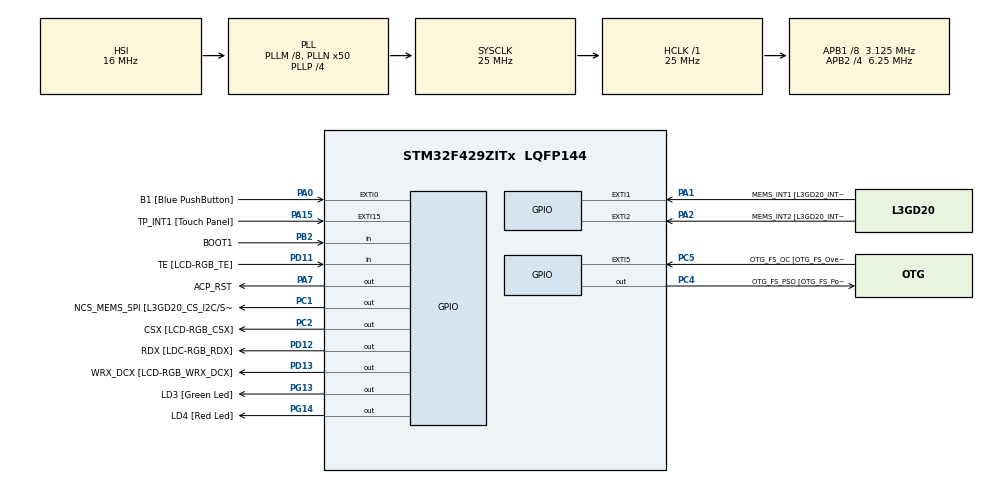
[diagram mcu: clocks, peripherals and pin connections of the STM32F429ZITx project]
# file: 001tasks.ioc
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Mcu.Family=STM32F4
Mcu.Name=STM32F429ZITx
Mcu.Package=LQFP144
NVIC.PriorityGroup=NVIC_PRIORITYGROUP_4
NVIC.TIM6_DAC_IRQn=true\:15\:0\:false\:false\:true\:false\:true\:true
NVIC.TimeBase=TIM6_DAC_IRQn
NVIC.TimeBaseIP=TIM6
PA0/WKUP.GPIO_Label=B1 [Blue PushButton]
PA0/WKUP.GPIO_ModeDefaultEXTI=GPIO_MODE_EVT_RISING
PA0/WKUP.GPIO_PuPd=GPIO_NOPULL
PA0/WKUP.Signal=GPXTI0
PA1.GPIO_Label=MEMS_INT1 [L3GD20_INT1]
PA1.GPIO_ModeDefaultEXTI=GPIO_MODE_EVT_RISING
PA1.GPIO_PuPd=GPIO_NOPULL
PA1.Signal=GPXTI1
PA10.GPIO_Label=STLINK_TX [STM32F103CBT6_PA2]
PA10.Signal=USART1_RX
PA11.GPIO_Label=R4
PA11.GPIO_Mode=GPIO_MODE_AF_PP
PA11.GPIO_PuPd=GPIO_NOPULL
PA11.GPIO_Speed=GPIO_SPEED_FREQ_LOW
PA11.Signal=LTDC_R4
PA12.GPIO_Label=R5
PA12.GPIO_Mode=GPIO_MODE_AF_PP
PA12.GPIO_PuPd=GPIO_NOPULL
PA12.GPIO_Speed=GPIO_SPEED_FREQ_LOW
PA12.Signal=LTDC_R5
PA13.GPIO_Label=SWDIO
PA13.Signal=SYS_JTMS-SWDIO
PA14.GPIO_Label=SWCLK
PA14.Signal=SYS_JTCK-SWCLK
PA15.GPIO_Label=TP_INT1 [Touch Panel]
PA15.GPIO_ModeDefaultEXTI=GPIO_MODE_EVT_RISING
PA15.GPIO_PuPd=GPIO_NOPULL
PA15.Signal=GPXTI15
PA2.GPIO_Label=MEMS_INT2 [L3GD20_INT2]
PA2.GPIO_ModeDefaultEXTI=GPIO_MODE_EVT_RISING
PA2.GPIO_PuPd=GPIO_NOPULL
PA2.Signal=GPXTI2
PA3.GPIO_Label=B5
PA3.GPIO_Mode=GPIO_MODE_AF_PP
PA3.GPIO_PuPd=GPIO_NOPULL
PA3.GPIO_Speed=GPIO_SPEED_FREQ_LOW
PA3.Signal=LTDC_B5
PA4.GPIO_Label=VSYNC
PA4.GPIO_Mode=GPIO_MODE_AF_PP
PA4.GPIO_PuPd=GPIO_NOPULL
PA4.GPIO_Speed=GPIO_SPEED_FREQ_LOW
PA4.Signal=LTDC_VSYNC
PA6.GPIO_Label=G2
PA6.GPIO_Mode=GPIO_MODE_AF_PP
PA6.GPIO_PuPd=GPIO_NOPULL
PA6.GPIO_Speed=GPIO_SPEED_FREQ_LOW
PA6.Signal=LTDC_G2
PA7.GPIO_Label=ACP_RST
PA7.GPIO_Mode=GPIO_MODE_OUTPUT_PP
PA7.GPIO_PuPd=GPIO_NOPULL
PA7.GPIO_Speed=GPIO_SPEED_FREQ_LOW
PA7.Signal=GPIO_Output
PA8.GPIO_Label=I2C3_SCL [ACP/RF_SCL]
PA8.GPIO_Mode=GPIO_MODE_AF_OD
PA8.GPIO_PuPd=GPIO_NOPULL
PA8.GPIO_Speed=GPIO_SPEED_FREQ_LOW
PA8.Signal=I2C3_SCL
PA9.GPIO_Label=STLINK_RX [STM32F103CBT6_PA3]
PA9.Signal=USART1_TX
PB0.GPIO_Label=R3
PB0.GPIO_Mode=GPIO_MODE_AF_PP
PB0.GPIO_PuPd=GPIO_NOPULL
PB0.GPIO_Speed=GPIO_SPEED_FREQ_LOW
PB0.Signal=LTDC_R3
PB1.GPIO_Label=R6
PB1.GPIO_Mode=GPIO_MODE_AF_PP
PB1.GPIO_PuPd=GPIO_NOPULL
PB1.GPIO_Speed=GPIO_SPEED_FREQ_LOW
PB1.Signal=LTDC_R6
PB10.GPIO_Label=G4
PB10.GPIO_Mode=GPIO_MODE_AF_PP
PB10.GPIO_PuPd=GPIO_NOPULL
PB10.GPIO_Speed=GPIO_SPEED_FREQ_LOW
PB10.Signal=LTDC_G4
PB11.GPIO_Label=G5
PB11.GPIO_Mode=GPIO_MODE_AF_PP
PB11.GPIO_PuPd=GPIO_NOPULL
PB11.GPIO_Speed=GPIO_SPEED_FREQ_LOW
PB11.Signal=LTDC_G5
PB12.GPIO_Label=OTG_HS_ID
PB12.GPIO_Mode=GPIO_MODE_AF_PP
PB12.GPIO_PuPd=GPIO_NOPULL
PB12.GPIO_Speed=GPIO_SPEED_FREQ_LOW
PB12.Signal=USB_OTG_HS_ID
PB13.GPIO_Label=VBUS_HS
PB13.GPIO_Mode=GPIO_MODE_INPUT
PB13.GPIO_PuPd=GPIO_NOPULL
PB13.Signal=USB_OTG_HS_VBUS
PB14.GPIO_Label=OTG_HS_DM
PB14.GPIO_Mode=GPIO_MODE_AF_PP
PB14.GPIO_PuPd=GPIO_NOPULL
PB14.GPIO_Speed=GPIO_SPEED_FREQ_LOW
PB14.Signal=USB_OTG_HS_DM
PB15.GPIO_Label=OTG_HS_DP
PB15.GPIO_Mode=GPIO_MODE_AF_PP
PB15.GPIO_PuPd=GPIO_NOPULL
PB15.GPIO_Speed=GPIO_SPEED_FREQ_LOW
PB15.Signal=USB_OTG_HS_DP
PB2/BOOT1.GPIO_Label=BOOT1
PB2/BOOT1.GPIO_Mode=GPIO_MODE_INPUT
PB2/BOOT1.GPIO_PuPd=GPIO_NOPULL
PB2/BOOT1.Signal=GPIO_Input
PB5.GPIO_Label=SDCKE1
PB5.GPIO_Mode=GPIO_MODE_AF_PP
PB5.GPIO_PuPd=GPIO_NOPULL
PB5.GPIO_Speed=GPIO_SPEED_FREQ_VERY_HIGH
PB5.Signal=FMC_SDCKE1
PB6.GPIO_Label=SDNE1 [SDRAM_CS]
PB6.GPIO_Mode=GPIO_MODE_AF_PP
PB6.GPIO_PuPd=GPIO_NOPULL
PB6.GPIO_Speed=GPIO_SPEED_FREQ_VERY_HIGH
PB6.Signal=FMC_SDNE1
PB8.GPIO_Label=B6
PB8.GPIO_Mode=GPIO_MODE_AF_PP
PB8.GPIO_PuPd=GPIO_NOPULL
PB8.GPIO_Speed=GPIO_SPEED_FREQ_LOW
PB8.Signal=LTDC_B6
PB9.GPIO_Label=B7
PB9.GPIO_Mode=GPIO_MODE_AF_PP
PB9.GPIO_PuPd=GPIO_NOPULL
PB9.GPIO_Speed=GPIO_SPEED_FREQ_LOW
PB9.Signal=LTDC_B7
PC0.GPIO_Label=SDNWE
PC0.GPIO_Mode=GPIO_MODE_AF_PP
PC0.GPIO_PuPd=GPIO_NOPULL
PC0.GPIO_Speed=GPIO_SPEED_FREQ_VERY_HIGH
PC0.Signal=FMC_SDNWE
PC1.GPIO_Label=NCS_MEMS_SPI [L3GD20_CS_I2C/SPI]
PC1.GPIO_Mode=GPIO_MODE_OUTPUT_PP
PC1.GPIO_PuPd=GPIO_NOPULL
PC1.GPIO_Speed=GPIO_SPEED_FREQ_LOW
PC1.Signal=GPIO_Output
PC10.GPIO_Label=R2
PC10.GPIO_Mode=GPIO_MODE_AF_PP
PC10.GPIO_PuPd=GPIO_NOPULL
PC10.GPIO_Speed=GPIO_SPEED_FREQ_LOW
PC10.Signal=LTDC_R2
PC14/OSC32_IN.GPIO_Label=PC14-OSC32_IN
PC14/OSC32_IN.Signal=RCC_OSC32_IN
PC15/OSC32_OUT.GPIO_Label=PC15-OSC32_OUT
PC15/OSC32_OUT.Signal=RCC_OSC32_OUT
PC2.GPIO_Label=CSX [LCD-RGB_CSX]
PC2.GPIO_Mode=GPIO_MODE_OUTPUT_PP
PC2.GPIO_PuPd=GPIO_NOPULL
PC2.GPIO_Speed=GPIO_SPEED_FREQ_LOW
PC2.Signal=GPIO_Output
PC4.GPIO_Label=OTG_FS_PSO [OTG_FS_PowerSwitchOn]
PC4.GPIO_Mode=GPIO_MODE_OUTPUT_PP
PC4.GPIO_PuPd=GPIO_NOPULL
PC4.GPIO_Speed=GPIO_SPEED_FREQ_LOW
PC4.Signal=GPIO_Output
PC5.GPIO_Label=OTG_FS_OC [OTG_FS_OverCurrent]
PC5.GPIO_ModeDefaultEXTI=GPIO_MODE_EVT_RISING
PC5.Signal=GPXTI5
PC6.GPIO_Label=HSYNC
PC6.GPIO_Mode=GPIO_MODE_AF_PP
PC6.GPIO_PuPd=GPIO_NOPULL
PC6.GPIO_Speed=GPIO_SPEED_FREQ_LOW
PC6.Signal=LTDC_HSYNC
PC7.GPIO_Label=G6
PC7.GPIO_Mode=GPIO_MODE_AF_PP
PC7.GPIO_PuPd=GPIO_NOPULL
PC7.GPIO_Speed=GPIO_SPEED_FREQ_LOW
PC7.Signal=LTDC_G6
PC9.GPIO_Label=I2C3_SDA [ACP/RF_SDA]
PC9.GPIO_Mode=GPIO_MODE_AF_OD
PC9.GPIO_PuPd=GPIO_NOPULL
PC9.GPIO_Speed=GPIO_SPEED_FREQ_LOW
PC9.Signal=I2C3_SDA
PD0.GPIO_Label=D2
PD0.GPIO_Mode=GPIO_MODE_AF_PP
PD0.GPIO_PuPd=GPIO_NOPULL
PD0.GPIO_Speed=GPIO_SPEED_FREQ_VERY_HIGH
PD0.Signal=FMC_D2_DA2
PD1.GPIO_Label=D3
PD1.GPIO_Mode=GPIO_MODE_AF_PP
PD1.GPIO_PuPd=GPIO_NOPULL
PD1.GPIO_Speed=GPIO_SPEED_FREQ_VERY_HIGH
PD1.Signal=FMC_D3_DA3
PD10.GPIO_Label=D15
PD10.GPIO_Mode=GPIO_MODE_AF_PP
PD10.GPIO_PuPd=GPIO_NOPULL
PD10.GPIO_Speed=GPIO_SPEED_FREQ_VERY_HIGH
PD10.Signal=FMC_D15_DA15
PD11.GPIO_Label=TE [LCD-RGB_TE]
PD11.GPIO_Mode=GPIO_MODE_INPUT
PD11.GPIO_PuPd=GPIO_NOPULL
PD11.Signal=GPIO_Input
PD12.GPIO_Label=RDX [LDC-RGB_RDX]
PD12.GPIO_Mode=GPIO_MODE_OUTPUT_PP
PD12.GPIO_PuPd=GPIO_NOPULL
PD12.GPIO_Speed=GPIO_SPEED_FREQ_LOW
PD12.Signal=GPIO_Output
PD13.GPIO_Label=WRX_DCX [LCD-RGB_WRX_DCX]
PD13.GPIO_Mode=GPIO_MODE_OUTPUT_PP
PD13.GPIO_PuPd=GPIO_NOPULL
PD13.GPIO_Speed=GPIO_SPEED_FREQ_LOW
PD13.Signal=GPIO_Output
PD14.GPIO_Label=D0
PD14.GPIO_Mode=GPIO_MODE_AF_PP
PD14.GPIO_PuPd=GPIO_NOPULL
PD14.GPIO_Speed=GPIO_SPEED_FREQ_VERY_HIGH
PD14.Signal=FMC_D0_DA0
PD15.GPIO_Label=D1
PD15.GPIO_Mode=GPIO_MODE_AF_PP
PD15.GPIO_PuPd=GPIO_NOPULL
PD15.GPIO_Speed=GPIO_SPEED_FREQ_VERY_HIGH
PD15.Signal=FMC_D1_DA1
PD3.GPIO_Label=G7
PD3.GPIO_Mode=GPIO_MODE_AF_PP
PD3.GPIO_PuPd=GPIO_NOPULL
PD3.GPIO_Speed=GPIO_SPEED_FREQ_LOW
PD3.Signal=LTDC_G7
PD6.GPIO_Label=B2
PD6.GPIO_Mode=GPIO_MODE_AF_PP
PD6.GPIO_PuPd=GPIO_NOPULL
PD6.GPIO_Speed=GPIO_SPEED_FREQ_LOW
PD6.Signal=LTDC_B2
PD8.GPIO_Label=D13
PD8.GPIO_Mode=GPIO_MODE_AF_PP
PD8.GPIO_PuPd=GPIO_NOPULL
PD8.GPIO_Speed=GPIO_SPEED_FREQ_VERY_HIGH
PD8.Signal=FMC_D13_DA13
PD9.GPIO_Label=D14
PD9.GPIO_Mode=GPIO_MODE_AF_PP
PD9.GPIO_PuPd=GPIO_NOPULL
PD9.GPIO_Speed=GPIO_SPEED_FREQ_VERY_HIGH
PD9.Signal=FMC_D14_DA14
PE0.GPIO_Label=NBL0 [SDRAM_LDQM]
PE0.GPIO_Mode=GPIO_MODE_AF_PP
PE0.GPIO_PuPd=GPIO_NOPULL
PE0.GPIO_Speed=GPIO_SPEED_FREQ_VERY_HIGH
PE0.Signal=FMC_NBL0
PE1.GPIO_Label=NBL1 [SDRAM_UDQM]
PE1.GPIO_Mode=GPIO_MODE_AF_PP
PE1.GPIO_PuPd=GPIO_NOPULL
PE1.GPIO_Speed=GPIO_SPEED_FREQ_VERY_HIGH
PE1.Signal=FMC_NBL1
PE10.GPIO_Label=D7
PE10.GPIO_Mode=GPIO_MODE_AF_PP
PE10.GPIO_PuPd=GPIO_NOPULL
PE10.GPIO_Speed=GPIO_SPEED_FREQ_VERY_HIGH
PE10.Signal=FMC_D7_DA7
PE11.GPIO_Label=D8
PE11.GPIO_Mode=GPIO_MODE_AF_PP
PE11.GPIO_PuPd=GPIO_NOPULL
PE11.GPIO_Speed=GPIO_SPEED_FREQ_VERY_HIGH
PE11.Signal=FMC_D8_DA8
PE12.GPIO_Label=D9
PE12.GPIO_Mode=GPIO_MODE_AF_PP
PE12.GPIO_PuPd=GPIO_NOPULL
PE12.GPIO_Speed=GPIO_SPEED_FREQ_VERY_HIGH
PE12.Signal=FMC_D9_DA9
PE13.GPIO_Label=D10
PE13.GPIO_Mode=GPIO_MODE_AF_PP
PE13.GPIO_PuPd=GPIO_NOPULL
PE13.GPIO_Speed=GPIO_SPEED_FREQ_VERY_HIGH
PE13.Signal=FMC_D10_DA10
PE14.GPIO_Label=D11
PE14.GPIO_Mode=GPIO_MODE_AF_PP
PE14.GPIO_PuPd=GPIO_NOPULL
PE14.GPIO_Speed=GPIO_SPEED_FREQ_VERY_HIGH
PE14.Signal=FMC_D11_DA11
PE15.GPIO_Label=D12
PE15.GPIO_Mode=GPIO_MODE_AF_PP
PE15.GPIO_PuPd=GPIO_NOPULL
PE15.GPIO_Speed=GPIO_SPEED_FREQ_VERY_HIGH
PE15.Signal=FMC_D12_DA12
PE7.GPIO_Label=D4
PE7.GPIO_Mode=GPIO_MODE_AF_PP
PE7.GPIO_PuPd=GPIO_NOPULL
PE7.GPIO_Speed=GPIO_SPEED_FREQ_VERY_HIGH
PE7.Signal=FMC_D4_DA4
PE8.GPIO_Label=D5
PE8.GPIO_Mode=GPIO_MODE_AF_PP
PE8.GPIO_PuPd=GPIO_NOPULL
PE8.GPIO_Speed=GPIO_SPEED_FREQ_VERY_HIGH
PE8.Signal=FMC_D5_DA5
PE9.GPIO_Label=D6
PE9.GPIO_Mode=GPIO_MODE_AF_PP
PE9.GPIO_PuPd=GPIO_NOPULL
PE9.GPIO_Speed=GPIO_SPEED_FREQ_VERY_HIGH
PE9.Signal=FMC_D6_DA6
PF0.GPIO_Label=A0
PF0.GPIO_Mode=GPIO_MODE_AF_PP
PF0.GPIO_PuPd=GPIO_NOPULL
PF0.GPIO_Speed=GPIO_SPEED_FREQ_VERY_HIGH
PF0.Signal=FMC_A0
PF1.GPIO_Label=A1
PF1.GPIO_Mode=GPIO_MODE_AF_PP
PF1.GPIO_PuPd=GPIO_NOPULL
PF1.GPIO_Speed=GPIO_SPEED_FREQ_VERY_HIGH
PF1.Signal=FMC_A1
PF10.GPIO_Label=ENABLE [LCD-RGB_ENABLE]
PF10.GPIO_Mode=GPIO_MODE_AF_PP
PF10.GPIO_PuPd=GPIO_NOPULL
PF10.GPIO_Speed=GPIO_SPEED_FREQ_LOW
PF10.Signal=LTDC_DE
PF11.GPIO_Label=SDNRAS
PF11.GPIO_Mode=GPIO_MODE_AF_PP
PF11.GPIO_PuPd=GPIO_NOPULL
PF11.GPIO_Speed=GPIO_SPEED_FREQ_VERY_HIGH
PF11.Signal=FMC_SDNRAS
PF12.GPIO_Label=A6
PF12.GPIO_Mode=GPIO_MODE_AF_PP
PF12.GPIO_PuPd=GPIO_NOPULL
PF12.GPIO_Speed=GPIO_SPEED_FREQ_VERY_HIGH
PF12.Signal=FMC_A6
PF13.GPIO_Label=A7
PF13.GPIO_Mode=GPIO_MODE_AF_PP
PF13.GPIO_PuPd=GPIO_NOPULL
PF13.GPIO_Speed=GPIO_SPEED_FREQ_VERY_HIGH
PF13.Signal=FMC_A7
PF14.GPIO_Label=A8
PF14.GPIO_Mode=GPIO_MODE_AF_PP
PF14.GPIO_PuPd=GPIO_NOPULL
PF14.GPIO_Speed=GPIO_SPEED_FREQ_VERY_HIGH
PF14.Signal=FMC_A8
PF15.GPIO_Label=A9
PF15.GPIO_Mode=GPIO_MODE_AF_PP
PF15.GPIO_PuPd=GPIO_NOPULL
PF15.GPIO_Speed=GPIO_SPEED_FREQ_VERY_HIGH
PF15.Signal=FMC_A9
PF2.GPIO_Label=A2
PF2.GPIO_Mode=GPIO_MODE_AF_PP
PF2.GPIO_PuPd=GPIO_NOPULL
PF2.GPIO_Speed=GPIO_SPEED_FREQ_VERY_HIGH
PF2.Signal=FMC_A2
PF3.GPIO_Label=A3
PF3.GPIO_Mode=GPIO_MODE_AF_PP
PF3.GPIO_PuPd=GPIO_NOPULL
PF3.GPIO_Speed=GPIO_SPEED_FREQ_VERY_HIGH
PF3.Signal=FMC_A3
PF4.GPIO_Label=A4
PF4.GPIO_Mode=GPIO_MODE_AF_PP
PF4.GPIO_PuPd=GPIO_NOPULL
PF4.GPIO_Speed=GPIO_SPEED_FREQ_VERY_HIGH
PF4.Signal=FMC_A4
PF5.GPIO_Label=A5
PF5.GPIO_Mode=GPIO_MODE_AF_PP
PF5.GPIO_PuPd=GPIO_NOPULL
PF5.GPIO_Speed=GPIO_SPEED_FREQ_VERY_HIGH
PF5.Signal=FMC_A5
PF7.GPIO_Label=SPI5_SCK [L3GD20_SCL/SPC]
PF7.GPIO_Mode=GPIO_MODE_AF_PP
PF7.GPIO_PuPd=GPIO_NOPULL
PF7.GPIO_Speed=GPIO_SPEED_FREQ_LOW
PF7.Signal=SPI5_SCK
PF8.GPIO_Label=SPI5_MISO [L3GD20_SDO]
PF8.GPIO_Mode=GPIO_MODE_AF_PP
PF8.GPIO_PuPd=GPIO_NOPULL
PF8.GPIO_Speed=GPIO_SPEED_FREQ_LOW
PF8.Signal=SPI5_MISO
PF9.GPIO_Label=SPI5_MOSI [L3GD20_SDA/SDI/SDO]
PF9.GPIO_Mode=GPIO_MODE_AF_PP
PF9.GPIO_PuPd=GPIO_NOPULL
PF9.GPIO_Speed=GPIO_SPEED_FREQ_LOW
PF9.Signal=SPI5_MOSI
PG0.GPIO_Label=A10
PG0.GPIO_Mode=GPIO_MODE_AF_PP
PG0.GPIO_PuPd=GPIO_NOPULL
PG0.GPIO_Speed=GPIO_SPEED_FREQ_VERY_HIGH
PG0.Signal=FMC_A10
PG1.GPIO_Label=A11
PG1.GPIO_Mode=GPIO_MODE_AF_PP
PG1.GPIO_PuPd=GPIO_NOPULL
PG1.GPIO_Speed=GPIO_SPEED_FREQ_VERY_HIGH
PG1.Signal=FMC_A11
PG10.GPIO_Label=G3
PG10.GPIO_Mode=GPIO_MODE_AF_PP
PG10.GPIO_PuPd=GPIO_NOPULL
PG10.GPIO_Speed=GPIO_SPEED_FREQ_LOW
PG10.Signal=LTDC_G3
PG11.GPIO_Label=B3
PG11.GPIO_Mode=GPIO_MODE_AF_PP
PG11.GPIO_PuPd=GPIO_NOPULL
PG11.GPIO_Speed=GPIO_SPEED_FREQ_LOW
PG11.Signal=LTDC_B3
PG12.GPIO_Label=B4
PG12.GPIO_Mode=GPIO_MODE_AF_PP
PG12.GPIO_PuPd=GPIO_NOPULL
PG12.GPIO_Speed=GPIO_SPEED_FREQ_LOW
PG12.Signal=LTDC_B4
PG13.GPIO_Label=LD3 [Green Led]
PG13.GPIO_Mode=GPIO_MODE_OUTPUT_PP
PG13.GPIO_PuPd=GPIO_NOPULL
PG13.GPIO_Speed=GPIO_SPEED_FREQ_LOW
PG13.Signal=GPIO_Output
PG14.GPIO_Label=LD4 [Red Led]
PG14.GPIO_Mode=GPIO_MODE_OUTPUT_PP
PG14.GPIO_PuPd=GPIO_NOPULL
PG14.GPIO_Speed=GPIO_SPEED_FREQ_LOW
PG14.Signal=GPIO_Output
PG15.GPIO_Label=SDNCAS
PG15.GPIO_Mode=GPIO_MODE_AF_PP
PG15.GPIO_PuPd=GPIO_NOPULL
PG15.GPIO_Speed=GPIO_SPEED_FREQ_VERY_HIGH
PG15.Signal=FMC_SDNCAS
PG4.GPIO_Label=BA0
PG4.GPIO_Mode=GPIO_MODE_AF_PP
PG4.GPIO_PuPd=GPIO_NOPULL
PG4.GPIO_Speed=GPIO_SPEED_FREQ_VERY_HIGH
PG4.Signal=FMC_A14_BA0
PG5.GPIO_Label=BA1
PG5.GPIO_Mode=GPIO_MODE_AF_PP
PG5.GPIO_PuPd=GPIO_NOPULL
PG5.GPIO_Speed=GPIO_SPEED_FREQ_VERY_HIGH
PG5.Signal=FMC_A15_BA1
PG6.GPIO_Label=R7
PG6.GPIO_Mode=GPIO_MODE_AF_PP
PG6.GPIO_PuPd=GPIO_NOPULL
PG6.GPIO_Speed=GPIO_SPEED_FREQ_LOW
PG6.Signal=LTDC_R7
PG7.GPIO_Label=DOTCLK [LCT-RGB_DOTCLK]
PG7.GPIO_Mode=GPIO_MODE_AF_PP
PG7.GPIO_PuPd=GPIO_NOPULL
PG7.GPIO_Speed=GPIO_SPEED_FREQ_LOW
PG7.Signal=LTDC_CLK
PG8.GPIO_Label=SDCLK
PG8.GPIO_Mode=GPIO_MODE_AF_PP
PG8.GPIO_PuPd=GPIO_NOPULL
PG8.GPIO_Speed=GPIO_SPEED_FREQ_VERY_HIGH
PG8.Signal=FMC_SDCLK
PH0/OSC_IN.GPIO_Label=PH0-OSC_IN
PH0/OSC_IN.Signal=RCC_OSC_IN
PH1/OSC_OUT.GPIO_Label=PH1-OSC_OUT
PH1/OSC_OUT.Signal=RCC_OSC_OUT
ProjectManager.HeapSize=0x200
ProjectManager.StackSize=0x400
ProjectManager.TargetToolchain=STM32CubeIDE
RCC.48MHZClocksFreq_Value=14285714.285714285
RCC.AHBFreq_Value=25000000
RCC.APB1CLKDivider=RCC_HCLK_DIV8
RCC.APB1Freq_Value=3125000
RCC.APB1TimFreq_Value=6250000
RCC.APB2CLKDivider=RCC_HCLK_DIV4
RCC.APB2Freq_Value=6250000
RCC.APB2TimFreq_Value=12500000
RCC.CortexFreq_Value=25000000
RCC.HCLKFreq_Value=25000000
RCC.HSE_VALUE=8000000
RCC.HSI_VALUE=16000000
RCC.LSE_VALUE=32768
RCC.PLLM=8
RCC.PLLN=50
RCC.PLLP=RCC_PLLP_DIV4
RCC.PLLQ=7
RCC.SYSCLKFreq_VALUE=25000000
RCC.SYSCLKSource=RCC_SYSCLKSOURCE_PLLCLK
RCC.VCOOutputFreq_Value=100000000
SH.FMC_A0.0=FMC_A0
SH.FMC_A1.0=FMC_A1
SH.FMC_A10.0=FMC_A10
SH.FMC_A11.0=FMC_A11
SH.FMC_A14_BA0.0=FMC_BA0
SH.FMC_A15_BA1.0=FMC_BA1
SH.FMC_A2.0=FMC_A2
SH.FMC_A3.0=FMC_A3
SH.FMC_A4.0=FMC_A4
SH.FMC_A5.0=FMC_A5
SH.FMC_A6.0=FMC_A6
SH.FMC_A7.0=FMC_A7
SH.FMC_A8.0=FMC_A8
SH.FMC_A9.0=FMC_A9
SH.FMC_D0_DA0.0=FMC_D0
SH.FMC_D10_DA10.0=FMC_D10
SH.FMC_D11_DA11.0=FMC_D11
SH.FMC_D12_DA12.0=FMC_D12
SH.FMC_D13_DA13.0=FMC_D13
SH.FMC_D14_DA14.0=FMC_D14
SH.FMC_D15_DA15.0=FMC_D15
SH.FMC_D1_DA1.0=FMC_D1
SH.FMC_D2_DA2.0=FMC_D2
SH.FMC_D3_DA3.0=FMC_D3
SH.FMC_D4_DA4.0=FMC_D4
SH.FMC_D5_DA5.0=FMC_D5
SH.FMC_D6_DA6.0=FMC_D6
SH.FMC_D7_DA7.0=FMC_D7
SH.FMC_D8_DA8.0=FMC_D8
SH.FMC_D9_DA9.0=FMC_D9
SH.FMC_NBL0.0=FMC_NBL0
SH.FMC_NBL1.0=FMC_NBL1
SH.FMC_SDCLK.0=FMC_SDCLK
SH.FMC_SDNCAS.0=FMC_SDNCAS
SH.FMC_SDNRAS.0=FMC_SDNRAS
SH.FMC_SDNWE.0=FMC_SDNWE
VP_SYS_VS_tim6.Mode=TIM6
board=STM32F429I-DISC1

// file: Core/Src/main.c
/* USER CODE BEGIN Header */
/**
  ******************************************************************************
  * @file           : main.c
  * @brief          : Main program body
  ******************************************************************************
  * @attention
  *
  * Copyright (c) 2025 STMicroelectronics.
  * All rights reserved.
  *
  * This software is licensed under terms that can be found in the LICENSE file
  * in the root directory of this software component.
  * If no LICENSE file comes with this software, it is provided AS-IS.
  *
  ******************************************************************************
  */
/* USER CODE END Header */
#include "main.h"

/* USER CODE BEGIN Includes */
#include "FreeRTOS.h"
#include "task.h"
/* USER CODE END Includes */

void SystemClock_Config(void);
static void MX_GPIO_Init(void);

/* USER CODE BEGIN 0 */
void green_led_task( void * args )
{
    for( ;; )
    {
    	 HAL_GPIO_TogglePin(GPIOG, GPIO_PIN_13);

		// Delay for 500 milliseconds (0.5 seconds)
		HAL_Delay(500);
    }
    vTaskDelete( NULL ); // Delete if task ever exits
}

void red_led_task( void * args )
{
    for( ;; )
    {
    	 HAL_GPIO_TogglePin(GPIOG,  GPIO_PIN_14);

		// Delay for 500 milliseconds (0.5 seconds)
		HAL_Delay(250);
    }
    vTaskDelete( NULL ); // Delete if task ever exits
}
/* USER CODE END 0 */

int main(void)
{

  /* MCU Configuration--------------------------------------------------------*/

  /* Reset of all peripherals, Initializes the Flash interface and the Systick. */
  HAL_Init();

  /* Configure the system clock */
  SystemClock_Config();

  /* Initialize all configured peripherals */
  MX_GPIO_Init();
  /* USER CODE BEGIN 2 */
  TaskHandle_t redLedHandle = NULL;
  TaskHandle_t greenLedHandle = NULL;
  BaseType_t status;

  status = xTaskCreate(
		  green_led_task,        /* Function implementing the task */
          "green-led-task",           /* Text name for debugging */
          200,       /* Stack size in words */
          NULL,             /* Parameter passed */
          2,
		  //tskIDLE_PRIORITY + 1, /* Priority */
          &greenLedHandle );
  status = xTaskCreate(
  		  red_led_task,        /* Function implementing the task */
            "red-led-task",           /* Text name for debugging */
            200,       /* Stack size in words */
            NULL,             /* Parameter passed */
            2,
			//tskIDLE_PRIORITY + 1, /* Priority */
            &redLedHandle );

  //start the freeRTOS scheduler
    vTaskStartScheduler();

  /* USER CODE END 2 */

  /* Infinite loop */
  /* USER CODE BEGIN WHILE */
  while (1)
  {
	  // Toggle the LED state (ON to OFF, or OFF to ON)
	  HAL_GPIO_TogglePin(GPIOG, GPIO_PIN_13 | GPIO_PIN_14);

	    // Delay for 500 milliseconds (0.5 seconds)
	    HAL_Delay(500);
    /* USER CODE END WHILE */

  }
}

void SystemClock_Config(void)
{
  RCC_OscInitTypeDef RCC_OscInitStruct = {0};
  RCC_ClkInitTypeDef RCC_ClkInitStruct = {0};

  /** Configure the main internal regulator output voltage
  */
  __HAL_RCC_PWR_CLK_ENABLE();
  __HAL_PWR_VOLTAGESCALING_CONFIG(PWR_REGULATOR_VOLTAGE_SCALE3);

  /** Initializes the RCC Oscillators according to the specified parameters
  * in the RCC_OscInitTypeDef structure.
  */
  RCC_OscInitStruct.OscillatorType = RCC_OSCILLATORTYPE_HSI;
  RCC_OscInitStruct.HSIState = RCC_HSI_ON;
  RCC_OscInitStruct.HSICalibrationValue = RCC_HSICALIBRATION_DEFAULT;
  RCC_OscInitStruct.PLL.PLLState = RCC_PLL_ON;
  RCC_OscInitStruct.PLL.PLLSource = RCC_PLLSOURCE_HSI;
  RCC_OscInitStruct.PLL.PLLM = 8;
  RCC_OscInitStruct.PLL.PLLN = 50;
  RCC_OscInitStruct.PLL.PLLP = RCC_PLLP_DIV4;
  RCC_OscInitStruct.PLL.PLLQ = 7;
  if (HAL_RCC_OscConfig(&RCC_OscInitStruct) != HAL_OK)
  {
    Error_Handler();
  }

  /** Initializes the CPU, AHB and APB buses clocks
  */
  RCC_ClkInitStruct.ClockType = RCC_CLOCKTYPE_HCLK|RCC_CLOCKTYPE_SYSCLK
                              |RCC_CLOCKTYPE_PCLK1|RCC_CLOCKTYPE_PCLK2;
  RCC_ClkInitStruct.SYSCLKSource = RCC_SYSCLKSOURCE_PLLCLK;
  RCC_ClkInitStruct.AHBCLKDivider = RCC_SYSCLK_DIV1;
  RCC_ClkInitStruct.APB1CLKDivider = RCC_HCLK_DIV8;
  RCC_ClkInitStruct.APB2CLKDivider = RCC_HCLK_DIV4;

  if (HAL_RCC_ClockConfig(&RCC_ClkInitStruct, FLASH_LATENCY_0) != HAL_OK)
  {
    Error_Handler();
  }
}

static void MX_GPIO_Init(void)
{
  GPIO_InitTypeDef GPIO_InitStruct = {0};

  /* GPIO Ports Clock Enable */
  __HAL_RCC_GPIOC_CLK_ENABLE();
  __HAL_RCC_GPIOF_CLK_ENABLE();
  __HAL_RCC_GPIOH_CLK_ENABLE();
  __HAL_RCC_GPIOA_CLK_ENABLE();
  __HAL_RCC_GPIOB_CLK_ENABLE();
  __HAL_RCC_GPIOG_CLK_ENABLE();
  __HAL_RCC_GPIOE_CLK_ENABLE();
  __HAL_RCC_GPIOD_CLK_ENABLE();

  /*Configure GPIO pin Output Level */
  HAL_GPIO_WritePin(GPIOC, NCS_MEMS_SPI_Pin|CSX_Pin|OTG_FS_PSO_Pin, GPIO_PIN_RESET);

  /*Configure GPIO pin Output Level */
  HAL_GPIO_WritePin(ACP_RST_GPIO_Port, ACP_RST_Pin, GPIO_PIN_RESET);

  /*Configure GPIO pin Output Level */
  HAL_GPIO_WritePin(GPIOD, RDX_Pin|WRX_DCX_Pin, GPIO_PIN_RESET);

  /*Configure GPIO pin Output Level */
  HAL_GPIO_WritePin(GPIOG, LD3_Pin|LD4_Pin, GPIO_PIN_RESET);

  /*Configure GPIO pins : A0_Pin A1_Pin A2_Pin A3_Pin
                           A4_Pin A5_Pin SDNRAS_Pin A6_Pin
                           A7_Pin A8_Pin A9_Pin */
  GPIO_InitStruct.Pin = A0_Pin|A1_Pin|A2_Pin|A3_Pin
                          |A4_Pin|A5_Pin|SDNRAS_Pin|A6_Pin
                          |A7_Pin|A8_Pin|A9_Pin;
  GPIO_InitStruct.Mode = GPIO_MODE_AF_PP;
  GPIO_InitStruct.Pull = GPIO_NOPULL;
  GPIO_InitStruct.Speed = GPIO_SPEED_FREQ_VERY_HIGH;
  GPIO_InitStruct.Alternate = GPIO_AF12_FMC;
  HAL_GPIO_Init(GPIOF, &GPIO_InitStruct);

  /*Configure GPIO pins : SPI5_SCK_Pin SPI5_MISO_Pin SPI5_MOSI_Pin */
  GPIO_InitStruct.Pin = SPI5_SCK_Pin|SPI5_MISO_Pin|SPI5_MOSI_Pin;
  GPIO_InitStruct.Mode = GPIO_MODE_AF_PP;
  GPIO_InitStruct.Pull = GPIO_NOPULL;
  GPIO_InitStruct.Speed = GPIO_SPEED_FREQ_LOW;
  GPIO_InitStruct.Alternate = GPIO_AF5_SPI5;
  HAL_GPIO_Init(GPIOF, &GPIO_InitStruct);

  /*Configure GPIO pin : ENABLE_Pin */
  GPIO_InitStruct.Pin = ENABLE_Pin;
  GPIO_InitStruct.Mode = GPIO_MODE_AF_PP;
  GPIO_InitStruct.Pull = GPIO_NOPULL;
  GPIO_InitStruct.Speed = GPIO_SPEED_FREQ_LOW;
  GPIO_InitStruct.Alternate = GPIO_AF14_LTDC;
  HAL_GPIO_Init(ENABLE_GPIO_Port, &GPIO_InitStruct);

  /*Configure GPIO pin : SDNWE_Pin */
  GPIO_InitStruct.Pin = SDNWE_Pin;
  GPIO_InitStruct.Mode = GPIO_MODE_AF_PP;
  GPIO_InitStruct.Pull = GPIO_NOPULL;
  GPIO_InitStruct.Speed = GPIO_SPEED_FREQ_VERY_HIGH;
  GPIO_InitStruct.Alternate = GPIO_AF12_FMC;
  HAL_GPIO_Init(SDNWE_GPIO_Port, &GPIO_InitStruct);

  /*Configure GPIO pins : NCS_MEMS_SPI_Pin CSX_Pin OTG_FS_PSO_Pin */
  GPIO_InitStruct.Pin = NCS_MEMS_SPI_Pin|CSX_Pin|OTG_FS_PSO_Pin;
  GPIO_InitStruct.Mode = GPIO_MODE_OUTPUT_PP;
  GPIO_InitStruct.Pull = GPIO_NOPULL;
  GPIO_InitStruct.Speed = GPIO_SPEED_FREQ_LOW;
  HAL_GPIO_Init(GPIOC, &GPIO_InitStruct);

  /*Configure GPIO pins : B1_Pin MEMS_INT1_Pin MEMS_INT2_Pin TP_INT1_Pin */
  GPIO_InitStruct.Pin = B1_Pin|MEMS_INT1_Pin|MEMS_INT2_Pin|TP_INT1_Pin;
  GPIO_InitStruct.Mode = GPIO_MODE_EVT_RISING;
  GPIO_InitStruct.Pull = GPIO_NOPULL;
  HAL_GPIO_Init(GPIOA, &GPIO_InitStruct);

  /*Configure GPIO pins : B5_Pin VSYNC_Pin G2_Pin R4_Pin
                           R5_Pin */
  GPIO_InitStruct.Pin = B5_Pin|VSYNC_Pin|G2_Pin|R4_Pin
                          |R5_Pin;
  GPIO_InitStruct.Mode = GPIO_MODE_AF_PP;
  GPIO_InitStruct.Pull = GPIO_NOPULL;
  GPIO_InitStruct.Speed = GPIO_SPEED_FREQ_LOW;
  GPIO_InitStruct.Alternate = GPIO_AF14_LTDC;
  HAL_GPIO_Init(GPIOA, &GPIO_InitStruct);

  /*Configure GPIO pin : ACP_RST_Pin */
  GPIO_InitStruct.Pin = ACP_RST_Pin;
  GPIO_InitStruct.Mode = GPIO_MODE_OUTPUT_PP;
  GPIO_InitStruct.Pull = GPIO_NOPULL;
  GPIO_InitStruct.Speed = GPIO_SPEED_FREQ_LOW;
  HAL_GPIO_Init(ACP_RST_GPIO_Port, &GPIO_InitStruct);

  /*Configure GPIO pin : OTG_FS_OC_Pin */
  GPIO_InitStruct.Pin = OTG_FS_OC_Pin;
  GPIO_InitStruct.Mode = GPIO_MODE_EVT_RISING;
  GPIO_InitStruct.Pull = GPIO_NOPULL;
  HAL_GPIO_Init(OTG_FS_OC_GPIO_Port, &GPIO_InitStruct);

  /*Configure GPIO pins : R3_Pin R6_Pin */
  GPIO_InitStruct.Pin = R3_Pin|R6_Pin;
  GPIO_InitStruct.Mode = GPIO_MODE_AF_PP;
  GPIO_InitStruct.Pull = GPIO_NOPULL;
  GPIO_InitStruct.Speed = GPIO_SPEED_FREQ_LOW;
  GPIO_InitStruct.Alternate = GPIO_AF9_LTDC;
  HAL_GPIO_Init(GPIOB, &GPIO_InitStruct);

  /*Configure GPIO pin : BOOT1_Pin */
  GPIO_InitStruct.Pin = BOOT1_Pin;
  GPIO_InitStruct.Mode = GPIO_MODE_INPUT;
  GPIO_InitStruct.Pull = GPIO_NOPULL;
  HAL_GPIO_Init(BOOT1_GPIO_Port, &GPIO_InitStruct);

  /*Configure GPIO pins : A10_Pin A11_Pin BA0_Pin BA1_Pin
                           SDCLK_Pin SDNCAS_Pin */
  GPIO_InitStruct.Pin = A10_Pin|A11_Pin|BA0_Pin|BA1_Pin
                          |SDCLK_Pin|SDNCAS_Pin;
  GPIO_InitStruct.Mode = GPIO_MODE_AF_PP;
  GPIO_InitStruct.Pull = GPIO_NOPULL;
  GPIO_InitStruct.Speed = GPIO_SPEED_FREQ_VERY_HIGH;
  GPIO_InitStruct.Alternate = GPIO_AF12_FMC;
  HAL_GPIO_Init(GPIOG, &GPIO_InitStruct);

  /*Configure GPIO pins : D4_Pin D5_Pin D6_Pin D7_Pin
                           D8_Pin D9_Pin D10_Pin D11_Pin
                           D12_Pin NBL0_Pin NBL1_Pin */
  GPIO_InitStruct.Pin = D4_Pin|D5_Pin|D6_Pin|D7_Pin
                          |D8_Pin|D9_Pin|D10_Pin|D11_Pin
                          |D12_Pin|NBL0_Pin|NBL1_Pin;
  GPIO_InitStruct.Mode = GPIO_MODE_AF_PP;
  GPIO_InitStruct.Pull = GPIO_NOPULL;
  GPIO_InitStruct.Speed = GPIO_SPEED_FREQ_VERY_HIGH;
  GPIO_InitStruct.Alternate = GPIO_AF12_FMC;
  HAL_GPIO_Init(GPIOE, &GPIO_InitStruct);

  /*Configure GPIO pins : G4_Pin G5_Pin B6_Pin B7_Pin */
  GPIO_InitStruct.Pin = G4_Pin|G5_Pin|B6_Pin|B7_Pin;
  GPIO_InitStruct.Mode = GPIO_MODE_AF_PP;
  GPIO_InitStruct.Pull = GPIO_NOPULL;
  GPIO_InitStruct.Speed = GPIO_SPEED_FREQ_LOW;
  GPIO_InitStruct.Alternate = GPIO_AF14_LTDC;
  HAL_GPIO_Init(GPIOB, &GPIO_InitStruct);

  /*Configure GPIO pins : OTG_HS_ID_Pin OTG_HS_DM_Pin OTG_HS_DP_Pin */
  GPIO_InitStruct.Pin = OTG_HS_ID_Pin|OTG_HS_DM_Pin|OTG_HS_DP_Pin;
  GPIO_InitStruct.Mode = GPIO_MODE_AF_PP;
  GPIO_InitStruct.Pull = GPIO_NOPULL;
  GPIO_InitStruct.Speed = GPIO_SPEED_FREQ_LOW;
  GPIO_InitStruct.Alternate = GPIO_AF12_OTG_HS_FS;
  HAL_GPIO_Init(GPIOB, &GPIO_InitStruct);

  /*Configure GPIO pin : VBUS_HS_Pin */
  GPIO_InitStruct.Pin = VBUS_HS_Pin;
  GPIO_InitStruct.Mode = GPIO_MODE_INPUT;
  GPIO_InitStruct.Pull = GPIO_NOPULL;
  HAL_GPIO_Init(VBUS_HS_GPIO_Port, &GPIO_InitStruct);

  /*Configure GPIO pins : D13_Pin D14_Pin D15_Pin D0_Pin
                           D1_Pin D2_Pin D3_Pin */
  GPIO_InitStruct.Pin = D13_Pin|D14_Pin|D15_Pin|D0_Pin
                          |D1_Pin|D2_Pin|D3_Pin;
  GPIO_InitStruct.Mode = GPIO_MODE_AF_PP;
  GPIO_InitStruct.Pull = GPIO_NOPULL;
  GPIO_InitStruct.Speed = GPIO_SPEED_FREQ_VERY_HIGH;
  GPIO_InitStruct.Alternate = GPIO_AF12_FMC;
  HAL_GPIO_Init(GPIOD, &GPIO_InitStruct);

  /*Configure GPIO pin : TE_Pin */
  GPIO_InitStruct.Pin = TE_Pin;
  GPIO_InitStruct.Mode = GPIO_MODE_INPUT;
  GPIO_InitStruct.Pull = GPIO_NOPULL;
  HAL_GPIO_Init(TE_GPIO_Port, &GPIO_InitStruct);

  /*Configure GPIO pins : RDX_Pin WRX_DCX_Pin */
  GPIO_InitStruct.Pin = RDX_Pin|WRX_DCX_Pin;
  GPIO_InitStruct.Mode = GPIO_MODE_OUTPUT_PP;
  GPIO_InitStruct.Pull = GPIO_NOPULL;
  GPIO_InitStruct.Speed = GPIO_SPEED_FREQ_LOW;
  HAL_GPIO_Init(GPIOD, &GPIO_InitStruct);

  /*Configure GPIO pins : R7_Pin DOTCLK_Pin B3_Pin */
  GPIO_InitStruct.Pin = R7_Pin|DOTCLK_Pin|B3_Pin;
  GPIO_InitStruct.Mode = GPIO_MODE_AF_PP;
  GPIO_InitStruct.Pull = GPIO_NOPULL;
  GPIO_InitStruct.Speed = GPIO_SPEED_FREQ_LOW;
  GPIO_InitStruct.Alternate = GPIO_AF14_LTDC;
  HAL_GPIO_Init(GPIOG, &GPIO_InitStruct);

  /*Configure GPIO pins : HSYNC_Pin G6_Pin R2_Pin */
  GPIO_InitStruct.Pin = HSYNC_Pin|G6_Pin|R2_Pin;
  GPIO_InitStruct.Mode = GPIO_MODE_AF_PP;
  GPIO_InitStruct.Pull = GPIO_NOPULL;
  GPIO_InitStruct.Speed = GPIO_SPEED_FREQ_LOW;
  GPIO_InitStruct.Alternate = GPIO_AF14_LTDC;
  HAL_GPIO_Init(GPIOC, &GPIO_InitStruct);

  /*Configure GPIO pin : I2C3_SDA_Pin */
  GPIO_InitStruct.Pin = I2C3_SDA_Pin;
  GPIO_InitStruct.Mode = GPIO_MODE_AF_OD;
  GPIO_InitStruct.Pull = GPIO_NOPULL;
  GPIO_InitStruct.Speed = GPIO_SPEED_FREQ_LOW;
  GPIO_InitStruct.Alternate = GPIO_AF4_I2C3;
  HAL_GPIO_Init(I2C3_SDA_GPIO_Port, &GPIO_InitStruct);

  /*Configure GPIO pin : I2C3_SCL_Pin */
  GPIO_InitStruct.Pin = I2C3_SCL_Pin;
  GPIO_InitStruct.Mode = GPIO_MODE_AF_OD;
  GPIO_InitStruct.Pull = GPIO_NOPULL;
  GPIO_InitStruct.Speed = GPIO_SPEED_FREQ_LOW;
  GPIO_InitStruct.Alternate = GPIO_AF4_I2C3;
  HAL_GPIO_Init(I2C3_SCL_GPIO_Port, &GPIO_InitStruct);

  /*Configure GPIO pins : STLINK_RX_Pin STLINK_TX_Pin */
  GPIO_InitStruct.Pin = STLINK_RX_Pin|STLINK_TX_Pin;
  GPIO_InitStruct.Mode = GPIO_MODE_AF_PP;
  GPIO_InitStruct.Pull = GPIO_NOPULL;
  GPIO_InitStruct.Speed = GPIO_SPEED_FREQ_VERY_HIGH;
  GPIO_InitStruct.Alternate = GPIO_AF7_USART1;
  HAL_GPIO_Init(GPIOA, &GPIO_InitStruct);

  /*Configure GPIO pins : G7_Pin B2_Pin */
  GPIO_InitStruct.Pin = G7_Pin|B2_Pin;
  GPIO_InitStruct.Mode = GPIO_MODE_AF_PP;
  GPIO_InitStruct.Pull = GPIO_NOPULL;
  GPIO_InitStruct.Speed = GPIO_SPEED_FREQ_LOW;
  GPIO_InitStruct.Alternate = GPIO_AF14_LTDC;
  HAL_GPIO_Init(GPIOD, &GPIO_InitStruct);

  /*Configure GPIO pins : G3_Pin B4_Pin */
  GPIO_InitStruct.Pin = G3_Pin|B4_Pin;
  GPIO_InitStruct.Mode = GPIO_MODE_AF_PP;
  GPIO_InitStruct.Pull = GPIO_NOPULL;
  GPIO_InitStruct.Speed = GPIO_SPEED_FREQ_LOW;
  GPIO_InitStruct.Alternate = GPIO_AF9_LTDC;
  HAL_GPIO_Init(GPIOG, &GPIO_InitStruct);

  /*Configure GPIO pins : LD3_Pin LD4_Pin */
  GPIO_InitStruct.Pin = LD3_Pin|LD4_Pin;
  GPIO_InitStruct.Mode = GPIO_MODE_OUTPUT_PP;
  GPIO_InitStruct.Pull = GPIO_NOPULL;
  GPIO_InitStruct.Speed = GPIO_SPEED_FREQ_LOW;
  HAL_GPIO_Init(GPIOG, &GPIO_InitStruct);

  /*Configure GPIO pins : SDCKE1_Pin SDNE1_Pin */
  GPIO_InitStruct.Pin = SDCKE1_Pin|SDNE1_Pin;
  GPIO_InitStruct.Mode = GPIO_MODE_AF_PP;
  GPIO_InitStruct.Pull = GPIO_NOPULL;
  GPIO_InitStruct.Speed = GPIO_SPEED_FREQ_VERY_HIGH;
  GPIO_InitStruct.Alternate = GPIO_AF12_FMC;
  HAL_GPIO_Init(GPIOB, &GPIO_InitStruct);

}

void HAL_TIM_PeriodElapsedCallback(TIM_HandleTypeDef *htim)
{
  if (htim->Instance == TIM6)
  {
    HAL_IncTick();
  }
}

void Error_Handler(void)
{
  __disable_irq();
  while (1)
  {
  }
}
